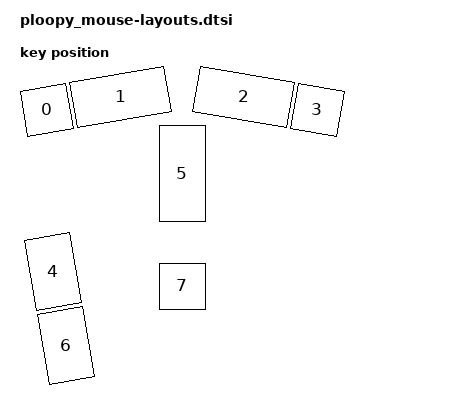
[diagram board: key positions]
#include <physical_layouts.dtsi>

/ {
    physical_layout0: physical_layout_0 {
        compatible = "zmk,physical-layout";
        display-name = "Default Layout";

        keys  //                     w   h    x    y     rot    rx    ry
            = <&key_physical_attrs 100 100    0    0 (-1000)   325    50>
            , <&key_physical_attrs 200 100  100    0 (-1000)   325    50>
            , <&key_physical_attrs 200 100  350    0    1000   325    50>
            , <&key_physical_attrs 100 100  550    0    1000   325    50>

            , <&key_physical_attrs 100 150    0  300 (-1000)   325   300>
            , <&key_physical_attrs 100 200  275  125       0     0     0>

            , <&key_physical_attrs 100 150    0  450 (-1000)   325   300>
            , <&key_physical_attrs 100 100  275  400       0     0     0>
            ;
    };
};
